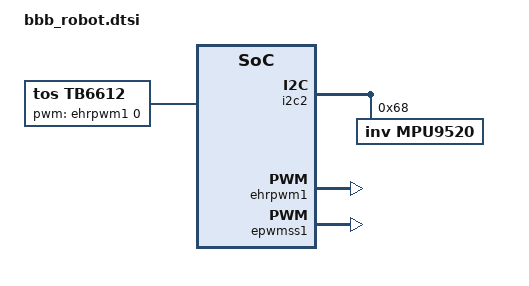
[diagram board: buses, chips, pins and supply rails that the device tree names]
// SPDX-License-Identifier: GPL-2.0-only
/*
 * Copyright (C) 2012 Texas Instruments Incorporated - https://www.ti.com/
 */


#include <dt-bindings/gpio/gpio.h>
#include <dt-bindings/pinctrl/am33xx.h>

&i2c2 {
	mpu9520: mpu9520@68 {
		compatible = "inv,mpu9520";
		reg = <0x68>;
		#address-cells = <1>;
		#size-cells = <1>;
	};
};

/* ensure the SOC PWMs are enabled */
&ehrpwm1 {
    status = "okay";
};

&epwmss1 {
    status = "okay";
};

/* tb6612 node */
/ {
	tb6612 {
		compatible = "tos,tb6612";
		pinctrl-names = "default";
		pinctrl-0 = <&tb6612_pinmux>;

    	pwms = <&ehrpwm1 0 0 1>;
		pwm-names 	= "PWM_P9_14";
		enabled     = <0>;
		duty        = <0>;
		status      = "okay";
	};
};

/*/ {*/
/*	tb6612 {*/
/*		compatible = "tos,tb6612";*/
/*		pinctrl-names = "default";*/
/*		pinctrl-0 = <&tb6612_pinmux>;*/

/*		tb6612-gpios = 	<&gpio0 20 GPIO_ACTIVE_HIGH>, /* stby   */*/
/*						<&gpio1 28 GPIO_ACTIVE_HIGH>, /* dir_1A */*/
/*						<&gpio0 31 GPIO_ACTIVE_HIGH>, /* dir_1B */*/
/*						<&gpio1 16 GPIO_ACTIVE_HIGH>, /* dir_2A */*/
/*						<&gpio2 17 GPIO_ACTIVE_HIGH>; /* dir_2B */*/
/*		*/
/*		pwm_pinA {*/
/*        	pwms = <&ehrpwm1 1 0 1>;*/
/*			pwm-names 	= "PWM_P9_14";*/
/*			enabled     = <0>;*/
/*			duty        = <0>;*/
/*			status      = "okay";*/
/*        };*/
/*	};*/
/*};*/


/* AM335X_PIN_LCD_DATA11 originally set in am335x-boneblack-common.dtsi       */
/* This has been commented out to remove conflict and declare here */
&am33xx_pinmux {
	tb6612_pinmux: tb6612_pinmux {
		pinctrl-single,pins = <
			AM33XX_PADCONF(AM335X_PIN_XDMA_EVENT_INTR1, PIN_OUTPUT_PULLDOWN, MUX_MODE7)	// STBY    - $PINS 60
			AM33XX_PADCONF(AM335X_PIN_GPMC_BEN1, PIN_OUTPUT_PULLDOWN, MUX_MODE7)		// DIR_1A  - $PINS 
			AM33XX_PADCONF(AM335X_PIN_GPMC_WPN, PIN_OUTPUT_PULLDOWN, MUX_MODE7)			// DIR_1B  - $PINS 
			AM33XX_PADCONF(AM335X_PIN_GPMC_A0, PIN_OUTPUT_PULLDOWN, MUX_MODE7)			// DIR_2A  - $PINS 
			AM33XX_PADCONF(AM335X_PIN_LCD_DATA11, PIN_OUTPUT_PULLDOWN, MUX_MODE7)		// DIR_2B  - $PINS 51
			AM33XX_PADCONF(AM335X_PIN_GPMC_A2, PIN_OUTPUT_PULLDOWN, MUX_MODE6)			// PWM_1A  - $PINS 
			AM33XX_PADCONF(AM335X_PIN_GPMC_A3, PIN_OUTPUT_PULLDOWN, MUX_MODE6)			// PWM_1B  - $PINS 
		>;
	};
};
